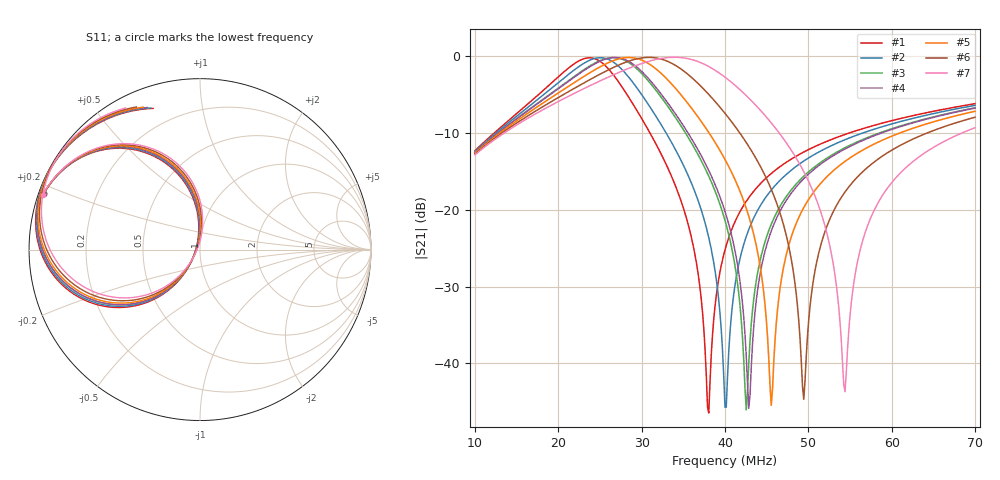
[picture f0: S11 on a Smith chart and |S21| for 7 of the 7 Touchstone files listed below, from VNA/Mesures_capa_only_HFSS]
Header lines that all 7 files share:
! Touchstone file exported from HFSS 2025.2.0
!  File:  C:/Users/32474/OneDrive - UCL/Documents/Ingenieur/MASTER1/Stage/HFSS/capav6+stub.aedt
!  Design:  HFSSDesign1
!  Project:  capav6+stub
!  Setup:  Setup4
!  Solution:  Sweep
# GHz S MA R 50.000000
! Terminal data exported
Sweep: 10 MHz to 70 MHz
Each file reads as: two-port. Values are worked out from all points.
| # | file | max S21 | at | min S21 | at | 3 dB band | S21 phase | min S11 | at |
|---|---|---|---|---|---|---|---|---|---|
| 1 | capav6+stub_v2_10p00.s2p | -0.21 dB | 23.8 MHz | -46.4 dB | 38.05 MHz | 19.6 MHz-27.1 MHz | 59 deg at 40 MHz | -32.3 dB | 23.8 MHz |
| 2 | capav6+stub_v2_15p00.s2p | -0.20 dB | 25 MHz | -45.7 dB | 40 MHz | 20.35 MHz-28.75 MHz | -49 deg at 40 MHz | -31.8 dB | 25.15 MHz |
| 3 | capav6+stub_v2_20p00.s2p | -0.19 dB | 26.65 MHz | -46.0 dB | 42.55 MHz | 21.25 MHz-30.7 MHz | -105 deg at 40 MHz | -33.5 dB | 26.65 MHz |
| 4 | capav6+stub_v2_20p60.s2p | -0.18 dB | 26.8 MHz | -45.8 dB | 42.85 MHz | 21.4 MHz-31 MHz | -105 deg at 40 MHz | -32.5 dB | 26.8 MHz |
| 5 | capav6+stub_v2_25p00.s2p | -0.17 dB | 28.45 MHz | -45.4 dB | 45.55 MHz | 22.3 MHz-33.1 MHz | -100 deg at 40 MHz | -32.9 dB | 28.6 MHz |
| 6 | capav6+stub_v2_30p00.s2p | -0.16 dB | 30.85 MHz | -44.7 dB | 49.45 MHz | 23.65 MHz-36.25 MHz | -87 deg at 40 MHz | -34.5 dB | 31 MHz |
| 7 | capav6+stub_v2_35p00.s2p | -0.14 dB | 34 MHz | -43.7 dB | 54.4 MHz | 25.3 MHz-40.45 MHz | -65 deg at 40 MHz | -35.4 dB | 34 MHz |
